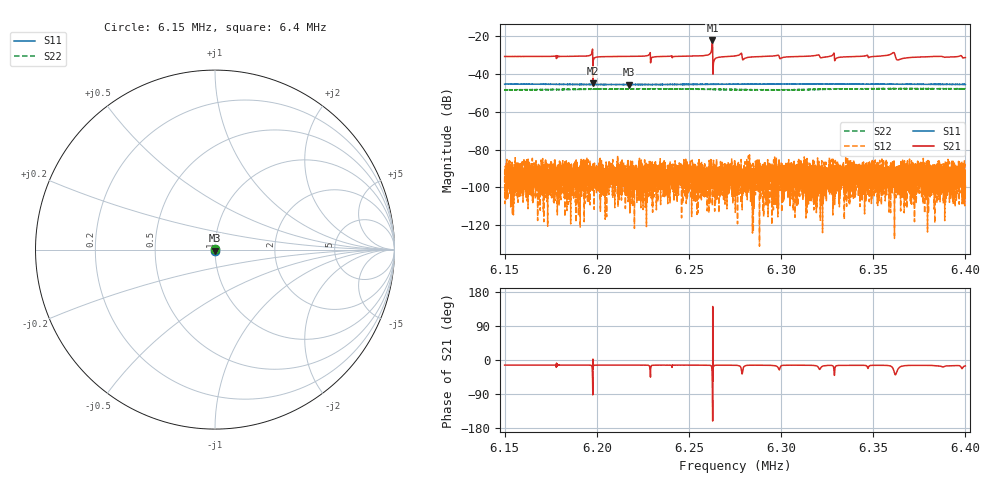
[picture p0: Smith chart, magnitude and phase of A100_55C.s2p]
!CETC41,AV3656A,ZGL00048,1.3.2
!Calibration ON (Full Solt 2-Port(Omit Isolation))
!Measurements: S11 S21 S12 S22
!2025-04-23 00:00
# Hz  S  dB  R 50.000
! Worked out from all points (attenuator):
!   6401 points, 6.15 MHz to 6.4 MHz, reference 50 ohm
!   highest |S21| = -22.34 dB at 6.2627 MHz (marker M1); lowest = -44.9 dB at 6.1979 MHz (marker M2)
!   lowest |S11| = -45.7 dB at 6.2174 MHz (marker M3), VSWR 1.01, Z = 50 - j0.519 ohm
!   |S11| at or under -10 dB: start of sweep to end of sweep
!   |S22| runs from -48.5 to -47.7 dB; largest |S21 - S12| = 0.076
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6150000  -45.42 -90.7  -30.80 -13.4  -97.27 -179.2  -48.40 108.8
6191680  -45.60 -89.5  -30.65 -13.4  -104.61 -165.4  -48.20 110.1
6196523  -45.60 -89.3  -30.12 -13.8  -89.92 93.8  -48.03 110.6
6197891  -45.60 -89.1  -44.90 -26.0  -95.53 143.2  -48.03 109.6
6217383  -45.70 -89.4  -30.75 -13.5  -92.86 29.2  -47.95 109.8
6233359  -45.61 -89.6  -30.87 -13.6  -100.80 -98.2  -47.98 108.5
6258086  -45.50 -89.2  -30.36 -13.7  -100.96 -53.6  -48.13 108.2
6261641  -45.49 -89.7  -29.16 -14.3  -89.04 -5.5  -48.11 107.6
6262734  -45.51 -89.2  -22.34 -64.8  -92.02 -172.7  -48.25 108.1
6264180  -45.52 -89.6  -32.03 -14.1  -92.89 144.8  -48.22 108.2
6266133  -45.50 -89.6  -31.23 -13.7  -96.04 141.2  -48.23 108.0
6275000  -45.43 -89.1  -30.53 -13.9  -94.03 133.8  -48.23 107.5
6277617  -45.42 -89.1  -29.80 -15.8  -91.13 136.8  -48.34 106.8
6280195  -45.46 -88.9  -31.86 -16.0  -92.57 70.5  -48.35 107.1
6316680  -45.36 -88.9  -30.53 -14.1  -93.93 -67.1  -48.20 107.0
6327656  -45.37 -89.2  -30.34 -14.5  -90.60 119.3  -48.10 107.8
6330195  -45.33 -89.0  -31.58 -14.9  -96.34 77.0  -47.99 108.1
6358359  -45.46 -89.1  -30.01 -14.8  -94.96 126.6  -47.75 108.6
6360781  -45.41 -89.2  -28.80 -22.8  -99.54 104.3  -47.71 108.8
6363750  -45.47 -89.0  -32.55 -21.8  -94.21 97.9  -47.84 108.6
6383242  -45.55 -88.4  -30.77 -14.9  -97.02 99.6  -47.81 109.0
6400000  -45.55 -87.7  -31.34 -15.6  -100.06 118.2  -47.97 109.1
